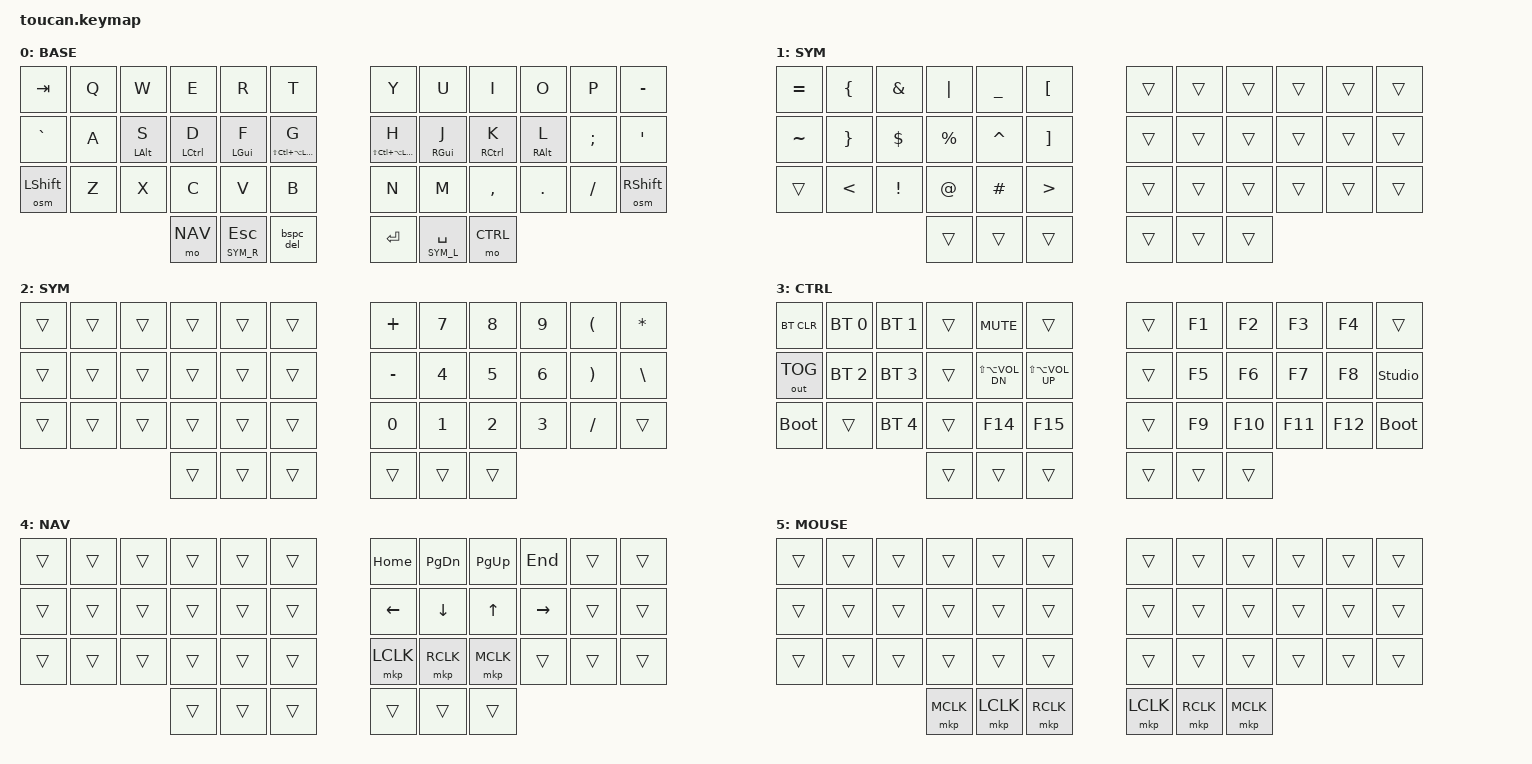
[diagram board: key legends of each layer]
// Toucan2 keymap ported from the csstaub42 QMK keymap for the Iris LM,
// minus the text macros and the accent layer.
#include <behaviors.dtsi>
#include <dt-bindings/zmk/keys.h>
#include <dt-bindings/zmk/bt.h>
#include <dt-bindings/zmk/outputs.h>
#include <dt-bindings/zmk/pointing.h>

#define BASE  0
#define SYM_L 1
#define SYM_R 2
#define CTRL  3
#define NAV   4
#define MOUSE 5

// Key positions: row 1 = 0-11, row 2 = 12-23, row 3 = 24-35, thumbs = 36-41
#define KEYS_L   0 1 2 3 4 5 12 13 14 15 16 17 24 25 26 27 28 29
#define KEYS_R   6 7 8 9 10 11 18 19 20 21 22 23 30 31 32 33 34 35
#define THUMBS_L 36 37 38
#define THUMBS_R 39 40 41

#define HYPR LS(LC(LA(LGUI)))

// The Toucan2 shield puts the trackpad into scroll mode on layers 1 and 2
// (Beekeeb's stock Nav/Sym). Point it at our Nav layer instead.
// Two-finger scroll felt too fast at the shield's 1/20, so halve it to 1/40.
&trackpad_listener {
    input-processors = <&zip_xy_scaler 100 100>, <&zip_scroll_scaler 1 40>,
                       <&zip_zoom_mapper>, <&is_touching_processor>, <&swipe_button_mapper>;
    scroller {
        layers = <NAV>;
    };
};

// The shield activates layer 4 while a finger is on the trackpad so the thumb
// keys become mouse buttons. Layer 4 is Nav here, so point it at Mouse.
&is_touching_processor {
    bindings = <&mo MOUSE>;
};

/ {
    behaviors {
        // Home row mods. PERMISSIVE_HOLD -> balanced, FLOW_TAP_TERM -> require-prior-idle-ms,
        // CHORDAL_HOLD -> only the opposite hand settles as hold.
        hml: home_row_mod_left {
            compatible = "zmk,behavior-hold-tap";
            #binding-cells = <2>;
            flavor = "balanced";
            tapping-term-ms = <200>;
            quick-tap-ms = <200>;
            require-prior-idle-ms = <140>;
            hold-trigger-key-positions = <KEYS_R THUMBS_R>;
            hold-trigger-on-release;
            bindings = <&kp>, <&kp>;
        };
        hmr: home_row_mod_right {
            compatible = "zmk,behavior-hold-tap";
            #binding-cells = <2>;
            flavor = "balanced";
            tapping-term-ms = <200>;
            quick-tap-ms = <200>;
            require-prior-idle-ms = <140>;
            hold-trigger-key-positions = <KEYS_L THUMBS_L>;
            hold-trigger-on-release;
            bindings = <&kp>, <&kp>;
        };

        // Thumb layer-taps with the same opposite-hand rule. No hold-trigger-on-release:
        // it only exists for stacking same-hand mods, and on a layer-tap it delays the
        // positional check so a same-hand roll that outlasts the tapping term drops the tap.
        ltl: layer_tap_left_thumb {
            compatible = "zmk,behavior-hold-tap";
            #binding-cells = <2>;
            flavor = "balanced";
            tapping-term-ms = <200>;
            quick-tap-ms = <200>;
            hold-trigger-key-positions = <KEYS_R THUMBS_R>;
            bindings = <&mo>, <&kp>;
        };
        ltr: layer_tap_right_thumb {
            compatible = "zmk,behavior-hold-tap";
            #binding-cells = <2>;
            flavor = "balanced";
            tapping-term-ms = <200>;
            quick-tap-ms = <200>;
            hold-trigger-key-positions = <KEYS_L THUMBS_L>;
            bindings = <&mo>, <&kp>;
        };
        // Shift + Backspace = Delete
        bspc_del: backspace_delete {
            compatible = "zmk,behavior-mod-morph";
            #binding-cells = <0>;
            bindings = <&kp BSPC>, <&kp DEL>;
            mods = <(MOD_LSFT|MOD_RSFT)>;
        };

        // One-shot shift. QMK one-shot has no timeout, so use a long one.
        osm: one_shot_mod {
            compatible = "zmk,behavior-sticky-key";
            #binding-cells = <1>;
            release-after-ms = <60000>;
            quick-release;
            bindings = <&kp>;
        };
    };

    combos {
        compatible = "zmk,combos";
        // Both shifts together = caps word
        combo_caps_word {
            timeout-ms = <50>;
            key-positions = <24 35>;
            bindings = <&caps_word>;
        };
    };

    keymap {
        compatible = "zmk,keymap";

        base {
            display-name = "BASE";
            bindings = <
&kp TAB    &kp Q  &kp W        &kp E         &kp R        &kp T         &kp Y        &kp U        &kp I         &kp O        &kp P     &kp MINUS
&kp GRAVE  &kp A  &hml LALT S  &hml LCTRL D  &hml LGUI F  &hml HYPR G   &hmr HYPR H  &hmr RGUI J  &hmr RCTRL K  &hmr RALT L  &kp SEMI  &kp SQT
&osm LSHFT &kp Z  &kp X        &kp C         &kp V        &kp B         &kp N        &kp M        &kp COMMA     &kp DOT      &kp FSLH  &osm RSHFT
                         &mo NAV  &ltl SYM_R ESC  &bspc_del        &kp RET  &ltr SYM_L SPACE  &mo CTRL
            >;
        };

        sym_l {
            display-name = "SYM";
            bindings = <
&kp EQUAL  &kp LBRC  &kp AMPS  &kp PIPE   &kp UNDER  &kp LBKT   &trans &trans &trans &trans &trans &trans
&kp TILDE  &kp RBRC  &kp DLLR  &kp PRCNT  &kp CARET  &kp RBKT   &trans &trans &trans &trans &trans &trans
&trans     &kp LT    &kp EXCL  &kp AT     &kp HASH   &kp GT     &trans &trans &trans &trans &trans &trans
                               &trans &trans &trans   &trans &trans &trans
            >;
        };

        sym_r {
            display-name = "SYM";
            bindings = <
&trans &trans &trans &trans &trans &trans   &kp PLUS   &kp N7  &kp N8  &kp N9  &kp LPAR  &kp STAR
&trans &trans &trans &trans &trans &trans   &kp MINUS  &kp N4  &kp N5  &kp N6  &kp RPAR  &kp BSLH
&trans &trans &trans &trans &trans &trans   &kp N0     &kp N1  &kp N2  &kp N3  &kp FSLH  &trans
                     &trans &trans &trans   &trans &trans &trans
            >;
        };

        // Right outer thumb. Left hand: system keys in the outer column, Bluetooth
        // next to them, an empty column, then media on the inner two columns so a
        // slip toward the bootloader has to cross a gap. Right hand: F keys, so the
        // left home row mods can be chorded with them. Each half has its own
        // &bootloader since that behavior runs on the half pressed.
        ctrl {
            display-name = "CTRL";
            bindings = <
&bt BT_CLR    &bt BT_SEL 0  &bt BT_SEL 1  &trans  &kp C_MUTE            &trans                   &trans       &kp F1  &kp F2   &kp F3   &kp F4   &trans
&out OUT_TOG  &bt BT_SEL 2  &bt BT_SEL 3  &trans  &kp LS(LA(K_VOL_DN))  &kp LS(LA(K_VOL_UP))     &trans       &kp F5  &kp F6   &kp F7   &kp F8   &studio_unlock
&bootloader   &trans        &bt BT_SEL 4  &trans  &kp F14               &kp F15                  &trans       &kp F9  &kp F10  &kp F11  &kp F12  &bootloader
                                                  &trans &trans &trans   &trans &trans &trans
            >;
        };

        nav {
            // No F keys on the left: keep it transparent so the home row mods
            // underneath can be combined with the navigation keys.
            display-name = "NAV";
            bindings = <
&trans  &trans  &trans   &trans   &trans   &trans   &kp HOME   &kp PG_DN  &kp PG_UP  &kp END    &trans &trans
&trans  &trans  &trans   &trans   &trans   &trans   &kp LEFT   &kp DOWN   &kp UP     &kp RIGHT  &trans &trans
&trans  &trans  &trans   &trans   &trans   &trans   &mkp LCLK  &mkp RCLK  &mkp MCLK  &trans     &trans &trans
                     &trans &trans &trans   &trans &trans &trans
            >;
        };

        // Active while a finger is on the trackpad: thumbs become mouse buttons.
        mouse {
            display-name = "MOUSE";
            bindings = <
&trans &trans &trans &trans &trans &trans   &trans &trans &trans &trans &trans &trans
&trans &trans &trans &trans &trans &trans   &trans &trans &trans &trans &trans &trans
&trans &trans &trans &trans &trans &trans   &trans &trans &trans &trans &trans &trans
         &mkp MCLK  &mkp LCLK  &mkp RCLK   &mkp LCLK  &mkp RCLK  &mkp MCLK
            >;
        };

        extra_1 { status = "reserved"; };
        extra_2 { status = "reserved"; };
    };
};
